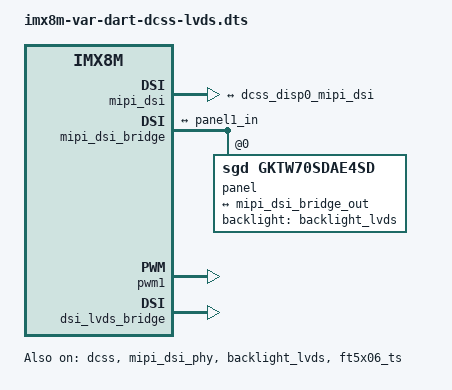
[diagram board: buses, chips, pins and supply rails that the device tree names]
/*
 * Copyright 2017 NXP
 * Copyright 2018 Variscite Ltd.
 *
 * This program is free software; you can redistribute it and/or
 * modify it under the terms of the GNU General Public License
 * as published by the Free Software Foundation; either version 2
 * of the License, or (at your option) any later version.
 *
 * This program is distributed in the hope that it will be useful,
 * but WITHOUT ANY WARRANTY; without even the implied warranty of
 * MERCHANTABILITY or FITNESS FOR A PARTICULAR PURPOSE.  See the
 * GNU General Public License for more details.
 */

#include "imx8m-var-dart.dts"

&hdmi {
	status = "disabled";
};

&hdmi_cec {
	status = "disabled";
};

&dcss {
	status = "okay";
	disp-dev = "mipi_disp";

	assigned-clocks = <&clk IMX8MQ_CLK_DISP_AXI_SRC>,
			  <&clk IMX8MQ_CLK_DISP_APB_SRC>,
			  <&clk IMX8MQ_CLK_DISP_RTRM_SRC>,
			  <&clk IMX8MQ_CLK_DISP_RTRM_PRE_DIV>,
			  <&clk IMX8MQ_CLK_DC_PIXEL_SRC>,
			  <&clk IMX8MQ_VIDEO_PLL1_REF_SEL>,
			  <&clk IMX8MQ_VIDEO_PLL1>;
	assigned-clock-parents = <&clk IMX8MQ_SYS1_PLL_800M>,
				 <&clk IMX8MQ_SYS2_PLL_125M>,
				 <&clk IMX8MQ_SYS1_PLL_800M>,
				 <&clk IMX8MQ_CLK_DISP_RTRM_CG>,
				 <&clk IMX8MQ_VIDEO_PLL1_OUT>,
				 <&clk IMX8MQ_CLK_25M>;
	assigned-clock-rates = <800000000>,
			       <125000000>,
			       <400000000>,
			       <400000000>,
			       <120000000>,
			       <0>,
			       <599999999>;

	dcss_disp0: port@0 {
		reg = <0>;

		dcss_disp0_mipi_dsi: mipi_dsi {
			remote-endpoint = <&mipi_dsi_in>;
		};
	};
};

&mipi_dsi_phy {
	status = "okay";
};

&mipi_dsi {
	status = "okay";
	assigned-clocks = <&clk IMX8MQ_CLK_DSI_PHY_REF_SRC>,
			  <&clk IMX8MQ_CLK_DSI_CORE_SRC>,
			  <&clk IMX8MQ_VIDEO_PLL1_REF_SEL>,
			  <&clk IMX8MQ_VIDEO_PLL1>;
	assigned-clock-parents = <&clk IMX8MQ_VIDEO_PLL1_OUT>,
				 <&clk IMX8MQ_SYS1_PLL_266M>,
				 <&clk IMX8MQ_CLK_25M>;
	assigned-clock-rates = <24000000>,
			       <266000000>,
			       <0>,
			       <599999999>;

	port@1 {
		mipi_dsi_in: endpoint {
			remote-endpoint = <&dcss_disp0_mipi_dsi>;
		};
	};

};

&mipi_dsi_bridge {
	status = "okay";

	panel@0 {
                reg = <0>;
                status = "okay";
                compatible = "sgd,gktw70sdae4sd";
                backlight = <&backlight_lvds>;

		dsi-lanes = <4>;
		panel-width-mm = <800>;
		panel-height-mm = <480>;

		port {
			panel1_in: endpoint {
				remote-endpoint = <&mipi_dsi_bridge_out>;
			};
		};
	};

	port@1 {
		mipi_dsi_bridge_out: endpoint {
			remote-endpoint = <&panel1_in>;
		};
	};
};

&pwm1 {
	status = "okay";
	pinctrl-names = "default";
	pinctrl-0 = <&pinctrl_pwm1>;
};

&backlight_lvds {
	status = "okay";
};

&dsi_lvds_bridge {
	status = "okay";
};

&ft5x06_ts {
	status = "okay";
};

